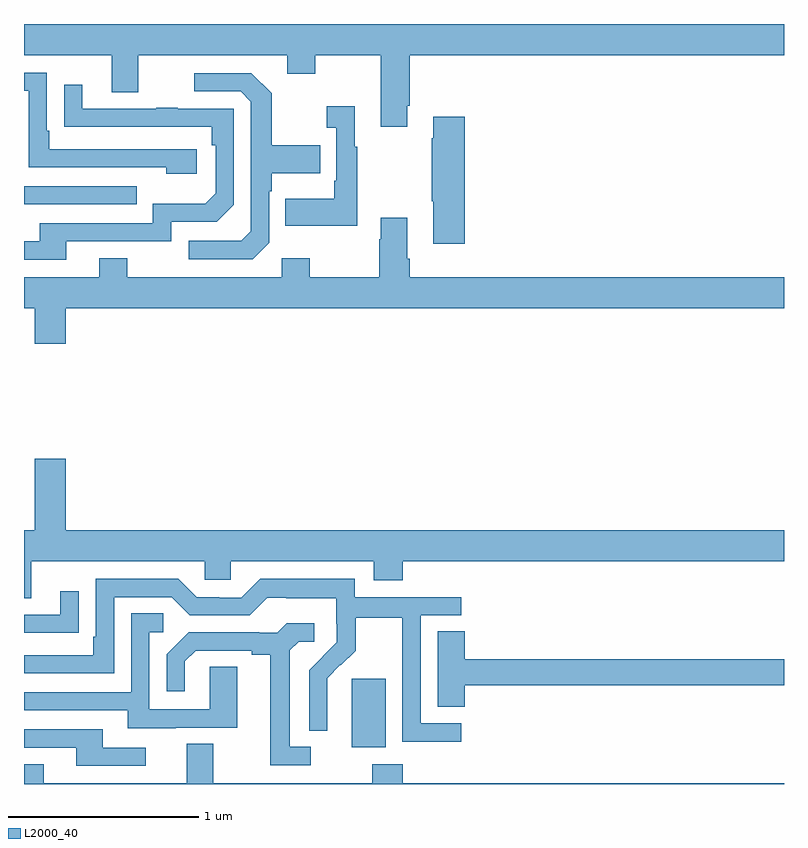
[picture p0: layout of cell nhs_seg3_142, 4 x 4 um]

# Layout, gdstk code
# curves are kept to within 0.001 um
import gdstk
lib = gdstk.Library(unit=1e-6, precision=1e-09)
def R(c, l, rs):  # rectangles x0, y0, x1, y1
    for r in rs: c.add(gdstk.rectangle(r[:2], r[2:], *l))
def P(c, l, *ps):  # polygons
    for p in ps: c.add(gdstk.Polygon(p, *l))
L2000_40 = (2000, 40)

nhs_seg3_142 = lib.new_cell('nhs_seg3_142')
R(nhs_seg3_142, L2000_40, [(118.724,710.594,118.903,710.955), (117,713.451,117.593,713.547)])
P(nhs_seg3_142, L2000_40, [(119.017,713.971),(119.03,713.971),(119.03,714.236),(121,714.236),(121,714.4),(117,714.4),(117,714.236),(117.461,714.236),(117.461,714.042),(117.601,714.042),(117.601,714.236),(118.385,714.236),(118.385,714.137),(118.533,714.137),(118.533,714.236),(118.877,714.236),(118.877,713.859),(119.017,713.859)],
  [(117.91,713.742),(117.133,713.742),(117.133,713.839),(117.12,713.839),(117.12,714.144),(117,714.144),(117,714.048),(117.024,714.048),(117.024,713.646),(117.749,713.646),(117.749,713.612),(117.91,713.612)],
  [(118.29,713.25),(118.29,713.519),(118.303,713.519),(118.303,713.615),(118.559,713.615),(118.559,713.763),(118.303,713.763),(118.303,714.035),(118.197,714.141),(117.897,714.141),(117.897,714.045),(118.14,714.045),(118.194,713.991),(118.194,713.31),(118.143,713.259),(117.867,713.259),(117.867,713.163),(118.203,713.163)],
  [(117.223,713.256),(117.774,713.256),(117.774,713.358),(118.014,713.358),(118.104,713.448),(118.104,713.955),(117.809,713.955),(117.809,713.96),(117.697,713.96),(117.697,713.955),(117.307,713.955),(117.307,714.079),(117.211,714.079),(117.211,713.86),(117.988,713.859),(117.988,713.762),(118.008,713.762),(118.008,713.508),(117.955,713.455),(117.678,713.455),(117.678,713.352),(117.083,713.352),(117.083,713.256),(117,713.256),(117,713.16),(117.223,713.16)],
  [(118.753,713.755),(118.741,713.755),(118.741,713.968),(118.593,713.968),(118.593,713.855),(118.644,713.855),(118.644,713.575),(118.632,713.575),(118.632,713.479),(118.375,713.479),(118.375,713.339),(118.753,713.339)],
  [(119.321,713.911),(119.153,713.911),(119.153,713.798),(119.146,713.798),(119.146,713.467),(119.153,713.467),(119.153,713.244),(119.321,713.244)],
  [(117.22,712.904),(121,712.904),(121,713.068),(119.03,713.068),(119.03,713.164),(119.017,713.164),(119.017,713.38),(118.877,713.38),(118.877,713.267),(118.87,713.267),(118.87,713.068),(118.503,713.068),(118.503,713.167),(118.356,713.167),(118.356,713.068),(117.543,713.068),(117.543,713.167),(117.395,713.167),(117.395,713.068),(117,713.068),(117,712.904),(117.056,712.904),(117.056,712.716),(117.22,712.716)],
  [(117.037,711.572),(117.951,711.572),(117.951,711.474),(118.089,711.474),(118.089,711.572),(118.841,711.572),(118.841,711.473),(118.994,711.473),(118.994,711.572),(121,711.572),(121,711.736),(117.22,711.736),(117.22,712.111),(117.056,712.111),(117.056,711.736),(117,711.736),(117,711.378),(117.037,711.378)],
  [(119.302,710.721),(119.088,710.721),(119.088,711.288),(119.302,711.288),(119.302,711.384),(118.74,711.384),(118.74,711.481),(118.243,711.481),(118.143,711.381),(118.028,711.381),(118.028,711.384),(117.909,711.384),(117.813,711.48),(117.378,711.48),(117.378,711.175),(117.365,711.175),(117.365,711.078),(117,711.078),(117,710.982),(117.474,710.982),(117.474,711.384),(117.777,711.384),(117.873,711.288),(118.188,711.288),(118.281,711.381),(118.381,711.381),(118.381,711.377),(118.644,711.377),(118.644,711.243),(118.646,711.243),(118.646,711.146),(118.5,710.998),(118.5,710.68),(118.596,710.68),(118.595,710.957),(118.665,711.027),(118.668,711.024),(118.745,711.101),(118.745,711.276),(118.99,711.276),(118.99,711.052),(118.992,711.052),(118.992,710.623),(119.302,710.623)],
  [(117.185,711.196),(117.287,711.196),(117.287,711.415),(117.191,711.415),(117.191,711.291),(117,711.291),(117,711.195),(117.185,711.195)],
  [(117.799,710.697),(118.123,710.697),(118.123,711.017),(117.978,711.017),(117.978,710.793),(117.66,710.793),(117.66,711.198),(117.733,711.198),(117.733,711.299),(117.564,711.299),(117.564,710.883),(117,710.883),(117,710.787),(117.545,710.787),(117.545,710.693),(117.799,710.693)],
  [(118.51,710.595),(118.399,710.595),(118.399,711.103),(118.446,711.15),(118.528,711.15),(118.528,711.247),(118.384,711.247),(118.332,711.195),(118.238,711.195),(118.238,711.198),(117.866,711.198),(117.75,711.082),(117.75,710.889),(117.847,710.889),(117.847,711.045),(117.904,711.102),(118.199,711.102),(118.199,711.08),(118.295,711.08),(118.295,710.499),(118.51,710.499)],
  [(119.321,710.92),(121,710.92),(121,711.056),(119.321,711.056),(119.321,711.203),(119.177,711.203),(119.177,710.806),(119.321,710.806)],
  [(117.64,710.592),(117.415,710.592),(117.415,710.688),(117,710.688),(117,710.592),(117.275,710.592),(117.275,710.496),(117.64,710.496)],
  [(121,710.404),(118.994,710.404),(118.994,710.503),(118.834,710.503),(118.834,710.404),(117.997,710.404),(117.997,710.612),(117.857,710.612),(117.857,710.404),(117.103,710.404),(117.103,710.503),(117,710.503),(117,710.4),(121,710.4)])

lib.write_gds('nhs_seg3_142.gds')
